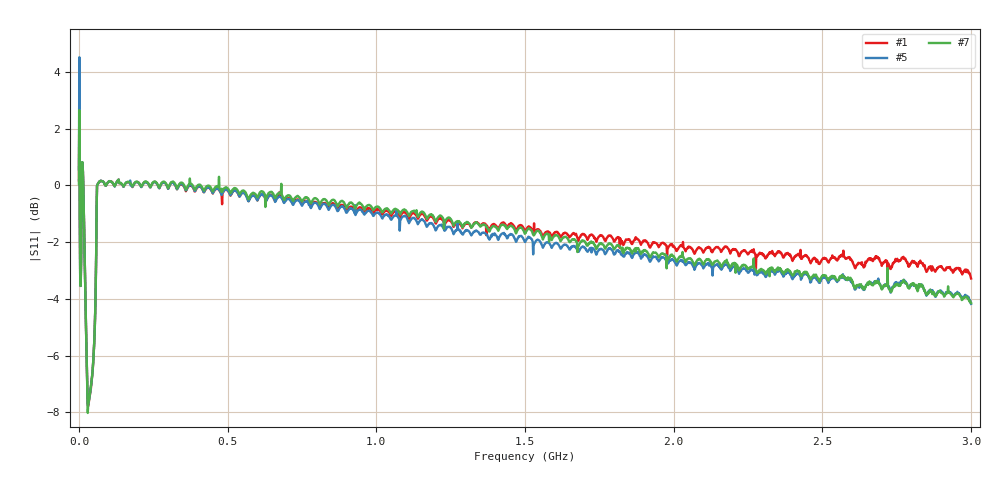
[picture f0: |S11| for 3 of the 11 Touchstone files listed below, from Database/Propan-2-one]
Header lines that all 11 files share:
# HZ S RI R 50
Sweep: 10 kHz to 3 GHz
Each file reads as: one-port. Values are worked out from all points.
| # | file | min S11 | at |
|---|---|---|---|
| 1 | 0%.s1p | -7.8 dB | 31.21 MHz |
| 2 | 10%.s1p | -7.8 dB | 31.21 MHz |
| 3 | 20%.s1p | -7.8 dB | 31.21 MHz |
| 4 | 30%.s1p | -7.8 dB | 31.21 MHz |
| 5 | 40%.s1p | -7.7 dB | 31.21 MHz |
| 6 | 50%.s1p | -7.7 dB | 31.21 MHz |
| 7 | 60%.s1p | -8.0 dB | 29.73 MHz |
| 8 | 70%.s1p | -7.7 dB | 31.21 MHz |
| 9 | 80%.s1p | -7.7 dB | 31.21 MHz |
| 10 | 90%.s1p | -7.7 dB | 31.21 MHz |
| 11 | propan-2-one.s1p | -7.7 dB | 31.21 MHz |
